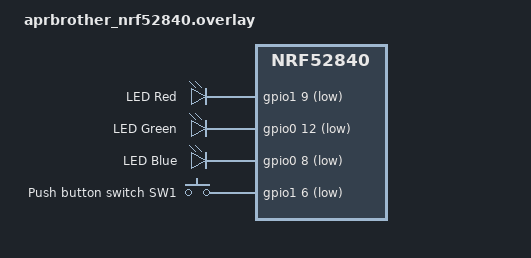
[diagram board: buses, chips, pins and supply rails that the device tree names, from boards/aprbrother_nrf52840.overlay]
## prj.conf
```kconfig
# Joypad bt2usb — nRF52840 Kconfig
#
# BTstack is the BLE host (via raw HCI), TinyUSB is the USB device stack.
# Zephyr provides: kernel, BLE controller (link layer), GPIO, NVS, clock.

# ============================================================================
# BLE Controller (raw HCI passthrough — BTstack is the host)
# ============================================================================
CONFIG_BT=y
CONFIG_BT_HCI_RAW=y
CONFIG_BT_CTLR_ASSERT_HANDLER=y
CONFIG_BT_BUF_ACL_RX_SIZE=255
CONFIG_BT_BUF_ACL_TX_SIZE=251
CONFIG_BT_BUF_CMD_TX_SIZE=255
CONFIG_BT_BUF_EVT_DISCARDABLE_SIZE=255
CONFIG_BT_CTLR_PRIVACY=n

# SoftDevice Controller needs these to compile in scanning + connection support.
# Without them, HCI LE scan/connect commands are rejected by the controller.
CONFIG_BT_OBSERVER=y
CONFIG_BT_CENTRAL=y
CONFIG_BT_MAX_CONN=2

# BTstack sends HCI commands with K_NO_WAIT; default count (2) causes drops.
CONFIG_BT_BUF_CMD_TX_COUNT=10

# ============================================================================
# USB — disabled (TinyUSB drives nRF52840 USBD hardware directly)
# ============================================================================
CONFIG_USB_DEVICE_STACK=n

# ============================================================================
# GPIO, Flash, NVS, Entropy
# ============================================================================
CONFIG_GPIO=y
CONFIG_ENTROPY_GENERATOR=y
CONFIG_HWINFO=y
CONFIG_REBOOT=y
CONFIG_FLASH=y
CONFIG_FLASH_MAP=y
CONFIG_FLASH_PAGE_LAYOUT=y
CONFIG_NVS=y

# ============================================================================
# C library
# ============================================================================
CONFIG_NEWLIB_LIBC=y

# ============================================================================
# Console — UART (RTT requires debug probe; TinyUSB owns USB, not Zephyr)
# ============================================================================
CONFIG_CONSOLE=y
CONFIG_SERIAL=y
CONFIG_UART_CONSOLE=y

# ============================================================================
# Stack / memory
# ============================================================================
# 6 kB: the main loop runs the whole app (CDC command handlers, BT callbacks
# via btstack run loop, USB). 4 kB overflowed on nRF52840 once a CDC handler
# added a couple hundred bytes of locals (ROUTER.GET's flash_t scratch) —
# the big frame buffers in cdc_protocol.c are static now, but keep headroom.
CONFIG_MAIN_STACK_SIZE=6144
CONFIG_SYSTEM_WORKQUEUE_STACK_SIZE=2048
CONFIG_HEAP_MEM_POOL_SIZE=16384
CONFIG_BT_RX_STACK_SIZE=1024
CONFIG_BT_HCI_TX_STACK_SIZE_WITH_PROMPT=y
CONFIG_BT_HCI_TX_STACK_SIZE=640
CONFIG_ISR_STACK_SIZE=2048
CONFIG_IDLE_STACK_SIZE=256

# ============================================================================
# Build output
# ============================================================================
CONFIG_BUILD_OUTPUT_UF2=y
CONFIG_SIZE_OPTIMIZATIONS=y

# ============================================================================
# Disable unused subsystems
# ============================================================================
CONFIG_I2C=y
CONFIG_SPI=n
CONFIG_WATCHDOG=n
CONFIG_PM=n
CONFIG_BOOT_BANNER=n
CONFIG_BOOT_DELAY=0
CONFIG_ARM_MPU=y
CONFIG_MPU_STACK_GUARD=y
CONFIG_DYNAMIC_INTERRUPTS=y
CONFIG_IRQ_OFFLOAD=n

# ============================================================================
# Fault reporting — get register dump + stack trace on hard fault
# ============================================================================
CONFIG_FAULT_DUMP=2

# System OFF deep sleep (platform_deep_sleep -> sys_poweroff)
CONFIG_POWEROFF=y

# SAADC for battery voltage monitoring (platform_battery_millivolts)
CONFIG_ADC=y
CONFIG_ADC_NRFX_SAADC=y
```

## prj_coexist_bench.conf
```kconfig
# Bench marker: BLE/USB coexist (detected by CMakeLists via filename)
```

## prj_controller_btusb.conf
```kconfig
# Joypad controller_btusb — nRF52840 Kconfig overrides
#
# Applied on top of prj.conf when building APP_TYPE=controller_btusb.
# BLE peripheral mode (HOGP gamepad) + sensor input.
# BTstack handles BLE host stack via raw HCI — Zephyr provides the controller.

# Enable peripheral role in the SoftDevice Controller
# (prj.conf already has CONFIG_BT_CENTRAL=y and CONFIG_BT_OBSERVER=y for central;
#  peripheral mode additionally needs CONFIG_BT_PERIPHERAL for advertising support)
CONFIG_BT_PERIPHERAL=y

# Onboard IMU — XIAO nRF52840 Sense LSM6DS3TR-C at 0x6a/0x6b on i2c0. Read via a
# direct I2C register driver (nrf/src/imu_nrf.c); it also drives the P1.08 power
# pin high itself (the regulator-fixed node doesn't reliably hold it).
CONFIG_I2C=y
```

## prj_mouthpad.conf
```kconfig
# MouthPad app extra config (nRF)
#
# Selects APP_TYPE=mouthpad (detected from this filename in CMakeLists.txt).
# Shares the base prj.conf (BLE central + TinyUSB device + NVS settings), which
# already provides everything the BT->USB path needs. The mouthpad app adds the
# NUS<->CDC relay on top of the standard bt2usb BLE-host configuration.
#
# (Intentionally minimal — board-specific settings live in boards/*.conf.)
CONFIG_BT_SETTINGS=y
```

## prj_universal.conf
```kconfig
# Joypad universal — nRF52840 Kconfig overrides
#
# Applied on top of prj.conf when building APP_TYPE=universal.
# BLE peripheral mode (HOGP gamepad) + sensor input.
# BTstack handles BLE host stack via raw HCI — Zephyr provides the controller.

# Enable peripheral role in the SoftDevice Controller
# (prj.conf already has CONFIG_BT_CENTRAL=y and CONFIG_BT_OBSERVER=y for central;
#  peripheral mode additionally needs CONFIG_BT_PERIPHERAL for advertising support)
CONFIG_BT_PERIPHERAL=y

# Onboard IMU — XIAO nRF52840 Sense LSM6DS3TR-C at 0x6a/0x6b on i2c0. Read via a
# direct I2C register driver (nrf/src/imu_nrf.c); it also drives the P1.08 power
# pin high itself (the regulator-fixed node doesn't reliably hold it).
CONFIG_I2C=y



# Zephyr open-source link layer (see boards/makerdiary_nrf52840.overlay).
CONFIG_BT_LL_SW_SPLIT=y

# Maximum radio transmit power (nRF52840 tops out at +8 dBm; Zephyr defaults to 0).
# Measured with a sniffer: this dongle advertised ~25 dB weaker than every other
# device in the room while sitting inches from the receiver, and a console that
# barely hears a controller has no reason to connect to it.
CONFIG_BT_CTLR_TX_PWR_PLUS_8=y

# Link-layer data length. A real Pro Controller 2 negotiates DLE 251, and the
# console negotiates a 247-byte ATT MTU against us -- which over 27-byte PDUs
# (Zephyr's default) means every command it sends has to be fragmented. The
# console exchanges the MTU and then stops talking, so match the pad.
CONFIG_BT_CTLR_DATA_LENGTH_MAX=251
CONFIG_BT_BUF_ACL_RX_SIZE=255
```

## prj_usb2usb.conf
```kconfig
# Joypad usb2usb — nRF52840 Kconfig overrides
#
# Applied on top of prj.conf when building APP_TYPE=usb2usb.
# Enables SPI for MAX3421E FeatherWing, disables Bluetooth.

# SPI driver disabled — MAX3421E uses direct NRF_SPI1 register access (ISR-safe)
CONFIG_SPI=n
CONFIG_BT=n

# uart_host_nrf.c drives the console UART with interrupt-driven RX so
# joypad-mcp frames aren't dropped while the main loop is busy elsewhere.
CONFIG_UART_INTERRUPT_DRIVEN=y
```

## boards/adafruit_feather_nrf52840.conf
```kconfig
# Adafruit Feather nRF52840 Express board-specific config
#
# The Feather ships with the Adafruit UF2 bootloader (SoftDevice s140 v6 layout).
# Zephyr's default DTS uses MCUboot partitions — the overlay replaces them with
# the correct UF2 layout (code at 0x26000).
CONFIG_USE_DT_CODE_PARTITION=y
CONFIG_BOOTLOADER_MCUBOOT=n
```

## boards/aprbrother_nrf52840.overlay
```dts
/* Joypad — April Brother nRF52840 USB Dongle devicetree overlay
 *
 * Hardware: PCA10059-class nRF52840 USB dongle (April Brother BleUsbDongle)
 * shipping the Adafruit nRF52 UF2 bootloader (NRF52BOOT drive, no SoftDevice
 * binary — code runs from 0x1000). This is the board sent to MouthPad users.
 *
 * Built as base Zephyr board `nrf52840dongle_nrf52840` + this overlay
 * (see nrf/Makefile ZEPHYR_BOARD mapping for BOARD=aprbrother_nrf52840).
 *
 * TinyUSB drives USB hardware directly, so disable Zephyr's USBD node.
 * Console -> uart0 (RTT is the actual debug output on a pinless dongle).
 *
 * LED pin overrides: the April Brother RGB LED is wired differently from the
 * Nordic PCA10059 reference. Mapping verified by the mouthpad-usb reference
 * firmware (physical Red=P1.09, Green=P0.12, Blue=P0.08).
 */

&usbd {
	status = "disabled";
};

/ {
	chosen {
		zephyr,console = &uart0;
		zephyr,shell-uart = &uart0;
	};
};

/* April Brother RGB LED physical wiring (override base board GPIO pins) */
&led0_green {
	gpios = <&gpio1 9 GPIO_ACTIVE_LOW>;   /* physical Red   (P1.09) */
	label = "LED Red";
};

&led1_red {
	gpios = <&gpio0 12 GPIO_ACTIVE_LOW>;  /* physical Green (P0.12) */
	label = "LED Green";
};

&led1_green {
	gpios = <&gpio0 8 GPIO_ACTIVE_LOW>;   /* physical Blue  (P0.08) */
	label = "LED Blue";
};

&led1_blue {
	status = "disabled";
};

/* User button (April Brother SW1 on P1.06) */
&button0 {
	gpios = <&gpio1 6 (GPIO_PULL_UP | GPIO_ACTIVE_LOW)>;
	label = "Push button switch SW1";
};

/* UF2 / Adafruit-bootloader flash layout (no SoftDevice; code at 0x1000) */
/delete-node/ &boot_partition;
/delete-node/ &slot0_partition;
/delete-node/ &slot1_partition;
/delete-node/ &storage_partition;

&flash0 {
	partitions {
		compatible = "fixed-partitions";
		#address-cells = <1>;
		#size-cells = <1>;

		/* Adafruit UF2 bootloader resides at 0x0-0x1000 */
		boot_partition: partition@0 {
			label = "adafruit_boot";
			reg = <0x00000000 0x00001000>;
		};

		/* Application code starts immediately after bootloader */
		code_partition: partition@1000 {
			label = "code_partition";
			reg = <0x00001000 0x000ed000>;
		};

		/* Settings/bonds storage (64 kB, before the MBR params page at 0xfe000) */
		storage_partition: partition@ee000 {
			label = "storage";
			reg = <0x000ee000 0x00010000>;
		};
	};
};

/ {
	chosen {
		zephyr,code-partition = &code_partition;
		zephyr,settings-partition = &storage_partition;
	};
};
```

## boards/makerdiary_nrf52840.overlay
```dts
/* Joypad — Makerdiary nRF52840 MDK USB Dongle devicetree overlay
 *
 * Built as the upstream Zephyr board `nrf52840_mdk_usb_dongle` + this overlay
 * (see nrf/Makefile ZEPHYR_BOARD mapping for BOARD=makerdiary_nrf52840).
 *
 * Bootloader: UF2 at MBR 0x0-0x1000, no SoftDevice, app at 0x1000 — either the
 * stock Makerdiary "uf2boot" (drive UF2BOOT, app region 0x1000-0xF4000,
 * family 0xADA52840) or the Adafruit nRF52 no-SD build Augmental ships on this
 * dongle (drive MDK-DONGLE; see mouthpad-usb reference firmware). The layout
 * below keeps storage below 0xF4000 so it is safe under BOTH bootloaders.
 *
 * TinyUSB drives USB hardware directly, so disable Zephyr's USBD node.
 * Console -> uart0 (TX=P0.06, RX=P0.07 edge pads).
 *
 * RGB LED comes from the base board dts and is already correct for this
 * hardware: Red=P0.23, Green=P0.22, Blue=P0.24, all active LOW.
 */

&usbd {
	status = "disabled";
};

/ {
	chosen {
		zephyr,console = &uart0;
		zephyr,shell-uart = &uart0;
	};
};

/* Onboard USER button = P0.18. The base board programs UICR PSELRESET
 * (gpio-as-nreset) which would turn it into a reset pin; drop that so it
 * stays a plain GPIO button (the mouthpad-usb reference firmware ships this
 * way in production — bootloader entry is hold-button-while-plugging). */
&uicr {
	/delete-property/ gpio-as-nreset;
};

/* i2c1 on exposed edge pads for an optional SSD1306 OLED. The shared display
 * service compiles DT_NODELABEL(i2c1) on every non-Feather board, so the node
 * must exist and be enabled. Internal pull-ups let the boot-time probe NAK
 * cleanly (instead of wedging on floating lines) when nothing is attached. */
&pinctrl {
	i2c1_oled_default: i2c1_oled_default {
		group1 {
			psels = <NRF_PSEL(TWIM_SDA, 0, 4)>,
				<NRF_PSEL(TWIM_SCL, 0, 5)>;
			bias-pull-up;
		};
	};

	i2c1_oled_sleep: i2c1_oled_sleep {
		group1 {
			psels = <NRF_PSEL(TWIM_SDA, 0, 4)>,
				<NRF_PSEL(TWIM_SCL, 0, 5)>;
			low-power-enable;
		};
	};
};

&i2c1 {
	compatible = "nordic,nrf-twim";
	status = "okay";
	pinctrl-0 = <&i2c1_oled_default>;
	pinctrl-1 = <&i2c1_oled_sleep>;
	pinctrl-names = "default", "sleep";
	clock-frequency = <400000>;
};

/* Pairing brownout fix: this dongle is USB-5V powered in high-voltage mode
 * (VDDH -> internal REG0 -> VDD). The base board dts enables DCDC only on
 * REG1, leaving REG0 — the stage carrying the whole 5V->3.3V load — in LDO
 * mode. Under the sustained radio bursts of a BLE *connection* (advertising
 * survives; every connection attempt POR-reset the board: RESETREAS=0,
 * noinit RAM wiped) the REG0 LDO collapses VDD. The MDK dongle has both
 * DCDC inductors and Makerdiary's own SDK enables both converters — enable
 * REG0 DCDC here too. */
&reg0 {
	status = "okay";
};

/* SAADC — platform_gpio_nrf.c compiles DT_NODELABEL(adc) whenever CONFIG_ADC
 * is on (prj.conf), and the base board dts leaves the node disabled. AIN0-AIN3
 * (P0.02-P0.05) are exposed edge pads, usable for analog sticks. */
&adc {
	status = "okay";
};

/* UF2 / no-SoftDevice flash layout (code at 0x1000). Base board dts uses
 * MCUboot partitions (fstab-stock.dtsi) — replace them. */
/delete-node/ &boot_partition;
/delete-node/ &slot0_partition;
/delete-node/ &slot1_partition;
/delete-node/ &storage_partition;
/delete-node/ &scratch_partition;

&flash0 {
	partitions {
		compatible = "fixed-partitions";
		#address-cells = <1>;
		#size-cells = <1>;

		/* MBR / UF2 bootloader entry at 0x0-0x1000 */
		boot_partition: partition@0 {
			label = "uf2_boot";
			reg = <0x00000000 0x00001000>;
		};

		/* Application code starts immediately after the MBR */
		code_partition: partition@1000 {
			label = "code_partition";
			reg = <0x00001000 0x000e3000>;
		};

		/* Settings/bonds storage (64 kB). Ends at 0xF4000: the stock
		 * Makerdiary uf2boot's app region ends there (bootloader lives
		 * at the top of flash), and the Adafruit-style no-SD build also
		 * keeps 0xF4000+ for itself. */
		storage_partition: partition@e4000 {
			label = "storage";
			reg = <0x000e4000 0x00010000>;
		};
	};
};

/ {
	chosen {
		zephyr,code-partition = &code_partition;
		zephyr,settings-partition = &storage_partition;
	};
};

/* Zephyr open-source link layer instead of Nordic's SoftDevice Controller.
 * The closed controller refuses the Switch 2's 5 ms connection interval (below
 * the 7.5 ms spec minimum); the open one is patchable. Selecting it needs the
 * devicetree chosen node, not just CONFIG_BT_LL_SW_SPLIT.
 * UNTESTED ON HARDWARE — see .dev/docs/switch2-ble-output-plan.md. */
&bt_hci_sdc { status = "disabled"; };
&bt_hci_controller { status = "okay"; };
/ { chosen { zephyr,bt-hci = &bt_hci_controller; }; };
```

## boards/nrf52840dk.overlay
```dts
/* Joypad usb2usb — nRF52840-DK devicetree overlay
 *
 * The DK's default DTS (via nrf52840_partition.dtsi) lays out flash for an
 * MCUboot child image: boot_partition at 0x0, then slot0/slot1 app slots.
 * The DK has no bootloader here — it flashes straight over the onboard
 * J-Link — so replace that with a single code_partition at 0x0 spanning the
 * whole flash, keeping the same NVS storage_partition tail used by
 * flash_nrf.c / btstack_tlv_nrf.c.
 *
 * Console is already zephyr,console = &uart0 in the stock DK devicetree,
 * routed to the J-Link's onboard VCOM — no console overlay needed.
 *
 * display_i2c_nrf.c (shared across all boards, built regardless of app type)
 * references &i2c1 by devicetree label. The DK's stock dts defines i2c1's
 * pinctrl but leaves it disabled (commented `status = "okay"`) because it
 * conflicts with spi1 — enable it here so the node ordinal resolves; no
 * display is attached for usb2usb.
 */

&i2c1 {
	status = "okay";
};

/delete-node/ &boot_partition;
/delete-node/ &slot0_partition;
/delete-node/ &slot1_partition;
/delete-node/ &storage_partition;

&flash0 {
	partitions {
		compatible = "fixed-partitions";
		#address-cells = <1>;
		#size-cells = <1>;

		code_partition: partition@0 {
			label = "code_partition";
			reg = <0x00000000 0x000f8000>;
		};

		storage_partition: partition@f8000 {
			label = "storage";
			reg = <0x000f8000 0x00008000>;
		};
	};
};

/ {
	chosen {
		zephyr,code-partition = &code_partition;
	};
};
```

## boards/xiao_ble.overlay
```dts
/* Joypad bt2usb — Seeed XIAO nRF52840 devicetree overlay
 *
 * TinyUSB drives USB hardware directly, so disable Zephyr's USBD node.
 * Console redirected to UART0 (RTT is the actual debug output).
 */

&usbd {
	status = "disabled";
};

/* The nRF52840 P1 GPIO port (gpio1) is status="disabled" in the base SoC
 * devicetree. The XIAO breaks out D6-D10 = P1.11-P1.15 (pad pins 43-47), so
 * leaving gpio1 off makes every P1.x pad dead — device_is_ready(gpio1) fails,
 * pad input skips configuring them, and reads return garbage. Enable it so the
 * P1 pads are usable for buttons/D-pad. (gpio0/P0 is already enabled.) */
&gpio1 {
	status = "okay";
};

/ {
	chosen {
		zephyr,console = &uart0;
		zephyr,shell-uart = &uart0;
	};
};

/*
 * XIAO nRF52840 Sense onboard IMU: LSM6DS3TR-C at 0x6a on i2c0, wired to the
 * internal pins P0.07 (SDA) / P0.27 (SCL) — NOT the D4/D5 header (that was for
 * the Feather-only JoyWing, unused on XIAO). Powered by a fixed regulator on
 * P1.08 (boot-on, 3ms settle) which Zephyr enables before the sensor inits.
 * IRQ on P0.11. On a plain (non-Sense) XIAO there's no device at 0x6a and the
 * driver just fails to init, harmlessly.
 */
/ {
	lsm6ds3tr_c_en: lsm6ds3tr-c-en {
		compatible = "regulator-fixed";
		enable-gpios = <&gpio1 8 GPIO_ACTIVE_HIGH>;
		regulator-name = "LSM6DS3TR_C_EN";
		regulator-boot-on;
		startup-delay-us = <3000>;
	};
};

&pinctrl {
	i2c0_imu_default: i2c0_imu_default {
		group1 {
			psels = <NRF_PSEL(TWIM_SDA, 0, 7)>,
				<NRF_PSEL(TWIM_SCL, 0, 27)>;
			bias-pull-up;
		};
	};

	i2c0_imu_sleep: i2c0_imu_sleep {
		group1 {
			psels = <NRF_PSEL(TWIM_SDA, 0, 7)>,
				<NRF_PSEL(TWIM_SCL, 0, 27)>;
			low-power-enable;
		};
	};
};

&i2c0 {
	compatible = "nordic,nrf-twim";
	status = "okay";
	pinctrl-0 = <&i2c0_imu_default>;
	pinctrl-1 = <&i2c0_imu_sleep>;
	pinctrl-names = "default", "sleep";
	clock-frequency = <400000>;

	lsm6ds3tr_c: lsm6ds3tr-c@6a {
		compatible = "st,lsm6dsl";
		reg = <0x6a>;
		irq-gpios = <&gpio0 11 GPIO_ACTIVE_HIGH>;
		status = "okay";
	};
};
```

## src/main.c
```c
// main.c - nRF52840 entry point
//
// Zephyr entry point for bt2usb/usb2usb apps on nRF52840 boards.
// bt2usb: BTstack runs in its own Zephyr thread (created by bt_transport_nrf.c).
// usb2usb: USB host via MAX3421E SPI, no Bluetooth.
// Main thread handles USB device, app logic, LED, and storage.

#include <stdio.h>
#include <string.h>

#include <zephyr/kernel.h>
#include <zephyr/irq.h>
#include <zephyr/sys/onoff.h>
#include <zephyr/fatal.h>
#include <zephyr/drivers/clock_control/nrf_clock_control.h>
#include <nrfx.h>

#include "tusb.h"
#include "platform/platform.h"
#include "core/app_registry.h"
#include "core/input_interface.h"
#include "core/output_interface.h"
#include "pad/pad_input.h"
#include "core/services/players/manager.h"
#include "core/services/leds/leds.h"
#include "core/services/storage/storage.h"
#ifdef CONFIG_UNIVERSAL
#include "imu_nrf.h"
#include "bt/ble_output/ble_output.h"
#endif

// App layer
extern void app_init(void);
extern void app_task(void);
extern const OutputInterface** app_get_output_interfaces(uint8_t* count);
extern const InputInterface** app_get_input_interfaces(uint8_t* count);

static const OutputInterface** outputs = NULL;
static uint8_t output_count = 0;
static const InputInterface** inputs = NULL;
static uint8_t input_count = 0;
const OutputInterface* active_output = NULL;
const OutputInterface* native_output = NULL;
const InputInterface* native_input = NULL;

// ============================================================================
// FAULT HANDLER — Zephyr's fault dump goes to UART console automatically.
// We turn on an LED as visual indicator and halt. On boards with no UART
// wired (USB dongles) the console dump is unreachable, so we also stash the
// fault PC/LR in __noinit RAM — it survives the next replug's soft boot and
// main() prints it, so the crash site is readable over CDC after the fact.
// ============================================================================
#define FAULT_CRUMB_MAGIC 0xFA17C4B5u
__noinit static uint32_t fault_crumb_magic;
__noinit static uint32_t fault_crumb_reason;
__noinit static uint32_t fault_crumb_pc;
__noinit static uint32_t fault_crumb_lr;

// RAM copy for this boot: the noinit magic is consumed (cleared) at boot so
// safe boot applies only to the single boot right after a fault, but the
// crumb keeps re-printing all uptime — printf only reaches CDC once the log
// redirect is installed and a client connects.
static bool     crumb_present = false;
static uint32_t crumb_reason, crumb_pc, crumb_lr;

// Returns true if the previous boot faulted (call once, at boot).
static bool fault_crumb_consume(void)
{
    if (fault_crumb_magic == FAULT_CRUMB_MAGIC) {
        crumb_present = true;
        crumb_reason = fault_crumb_reason;
        crumb_pc = fault_crumb_pc;
        crumb_lr = fault_crumb_lr;
    }
    fault_crumb_magic = 0;
    return crumb_present;
}

// BT stage trace: a tiny noinit event ring written from the BLE peripheral
// path (ble_output.c calls bt_diag_mark). Survives even a hardware LOCKUP
// reset that bypasses every software handler, so after a silent reset the
// boot log shows how far pairing got. Codes are defined at the call sites.
#define BT_TRACE_MAGIC 0xB7D1A600u
#define BT_TRACE_N 64
__noinit static uint32_t bt_trace_magic;
__noinit static uint32_t bt_trace_ring[BT_TRACE_N];
__noinit static uint32_t bt_trace_idx;

/* Link-layer CPR interval minimum, in 1.25 ms units, read by the patched
 * controller (ull_internal.h / ull_conn.c / ull_peripheral.c).
 *
 * 6 = the 7.5 ms Bluetooth floor, which is what every mode should run. Switch 2
 * output lowers it to 4 (5 ms) because the console drives the link that fast;
 * see switch2_ble_late_init. It MUST stay at the floor otherwise: lowering it
 * for the whole binary also loosened the central path, and the link layer then
 * asserted (reason 0xB7, which force-resets the dongle) while connecting to an
 * ordinary BLE controller. Switch 2 output and the BLE central are never active
 * together, so the two needs do not collide.
 */
unsigned char joypad_le_interval_min = 6;

void bt_diag_mark(uint32_t code)
{
    if (bt_trace_magic != BT_TRACE_MAGIC) {
        for (int i = 0; i < BT_TRACE_N; i++) bt_trace_ring[i] = 0;
        bt_trace_idx = 0;
        bt_trace_magic = BT_TRACE_MAGIC;
    }
    bt_trace_ring[bt_trace_idx % BT_TRACE_N] = code;
    bt_trace_idx++;
    // Live view for app-level milestones (0xC...) and low-rate LE meta events
    // (0xE03E: connection complete, param/PHY updates). Per-packet marks
    // (other HCI events, ACL 0xACC0) stay ring-only — printf in the
    // cooperative BTstack thread is a polled-UART stall.
    // Subevent 0x02 is LE Advertising Report — one per advertisement seen, so it
    // is emphatically NOT low-rate while scanning. Printing it floods the CDC log
    // (burying every useful host/HID line) and, per the note above, stalls the
    // cooperative BTstack thread on a polled UART for each report — during exactly
    // the window where connection setup is timing-sensitive. Ring-only.
    if ((code >> 28) == 0xC ||
        ((code >> 16) == 0xE03E && (code & 0xFFFF) != 0x0002)) {
        printf("[btdiag] mark %08x\n", (unsigned)code);
    }
}

// Snapshot of the ring from before this boot's reset, for periodic reprint
// (CDC log clients usually connect well after boot).
static uint32_t bt_trace_snap[BT_TRACE_N];
static uint32_t bt_trace_snap_n = 0, bt_trace_snap_total = 0;

static void bt_trace_consume(void)
{
    if (bt_trace_magic != BT_TRACE_MAGIC || bt_trace_idx == 0) return;
    uint32_t n = bt_trace_idx < BT_TRACE_N ? bt_trace_idx : BT_TRACE_N;
    uint32_t start = bt_trace_idx - n;
    for (uint32_t i = 0; i < n; i++) {
        bt_trace_snap[i] = bt_trace_ring[(start + i) % BT_TRACE_N];
    }
    bt_trace_snap_n = n;
    bt_trace_snap_total = bt_trace_idx;
    // Reset the ring for this boot's marks
    bt_trace_idx = 0;
    for (int i = 0; i < BT_TRACE_N; i++) bt_trace_ring[i] = 0;
}

// On-demand dump of the LIVE ring (this boot's marks) — BT.TRACE command.
void bt_diag_dump(void)
{
    if (bt_trace_magic != BT_TRACE_MAGIC || bt_trace_idx == 0) {
        printf("[btdiag] live trace: empty\n");
        return;
    }
    uint32_t n = bt_trace_idx < BT_TRACE_N ? bt_trace_idx : BT_TRACE_N;
    uint32_t start = bt_trace_idx - n;
    printf("[btdiag] live trace (%u marks, oldest first):",
           (unsigned)bt_trace_idx);
    for (uint32_t i = 0; i < n; i++) {
        printf(" %08x", (unsigned)bt_trace_ring[(start + i) % BT_TRACE_N]);
    }
    printf("\n");
}

static void bt_trace_report(void)
{
    if (bt_trace_snap_n == 0) return;
    printf("[btdiag] trace before reset (%u marks, oldest first):",
           (unsigned)bt_trace_snap_total);
    for (uint32_t i = 0; i < bt_trace_snap_n; i++) {
        printf(" %08x", (unsigned)bt_trace_snap[i]);
    }
    printf("\n");
}

static void fault_crumb_report(void)
{
    if (crumb_present) {
        printf("[fault] PREVIOUS BOOT FAULTED: reason=%u pc=0x%08x lr=0x%08x\n",
               (unsigned)crumb_reason, (unsigned)crumb_pc, (unsigned)crumb_lr);
    }
}

// Newlib assert() → abort() → k_panic loses the assert location (its message
// goes to the unwired UART). Capture file+line in the crumb and reboot:
// reason=0xA5, pc=line, lr=first 4 chars of the file's basename.
void __assert_func(const char *file, int line, const char *func,
                   const char *expr)
{
    (void)func; (void)expr;
    fault_crumb_magic = FAULT_CRUMB_MAGIC;
    fault_crumb_reason = 0xA5;
    fault_crumb_pc = (uint32_t)line;
    fault_crumb_lr = 0;
    if (file) {
        const char *base = file;
        for (const char *p = file; *p; p++) {
            if (*p == '/') base = p + 1;
        }
        for (int i = 0; i < 4 && base[i]; i++) {
            fault_crumb_lr |= ((uint32_t)(uint8_t)base[i]) << (8 * i);
        }
    }
    NVIC_SystemReset();
    for (;;) { }
}

void k_sys_fatal_error_handler(unsigned int reason, const struct arch_esf *esf)
{
    fault_crumb_magic = FAULT_CRUMB_MAGIC;
    fault_crumb_reason = reason;
    fault_crumb_pc = esf ? esf->basic.pc : 0;
    fault_crumb_lr = esf ? esf->basic.lr : 0;
#ifdef BOARD_FEATHER_NRF52840
    // Blue LED on Feather = P1.10, active high
    NRF_P1->DIRSET = (1U << 10);
    NRF_P1->OUTSET = (1U << 10);  // LED on (active high)
#elif defined(BOARD_MAKERDIARY_NRF52840)
    // Blue LED on MDK dongle = P0.24, active low
    NRF_P0->DIRSET = (1U << 24);
    NRF_P0->OUTCLR = (1U << 24);  // LED on (active low)
#else
    // Blue LED on XIAO BLE = P0.06, active low
    NRF_P0->DIRSET = (1U << 6);
    NRF_P0->OUTCLR = (1U << 6);   // LED on (active low)
#endif
    // Hold the LED visibly, then reboot so the crumb gets printed (halting
    // forever just strands the dongle until a replug).
    for (volatile uint32_t i = 0; i < 16000000; i++) { __NOP(); }
    NVIC_SystemReset();
    for (;;) { __WFI(); }
}

// ============================================================================
// BT CONTROLLER ASSERT HANDLER
// ============================================================================

void bt_ctlr_assert_handle(char *file, uint32_t line)
{
    // SDC asserts can fire from radio ISR context; printf-and-return leaves
    // the controller in an undefined state (observed as a hard lockup, USB
    // gone). Record it in the fault crumb (reason 0xB7 tag; pc=line, lr=first
    // 4 chars of the file name) and reboot — next boot is a safe boot that
    // reports it over CDC.
    fault_crumb_magic = FAULT_CRUMB_MAGIC;
    fault_crumb_reason = 0xB7;
    fault_crumb_pc = line;
    fault_crumb_lr = 0;
    if (file) {
        for (int i = 0; i < 4 && file[i]; i++) {
            fault_crumb_lr |= ((uint32_t)(uint8_t)file[i]) << (8 * i);
        }
    }
    NVIC_SystemReset();
}

// ============================================================================
// USB POWER + IRQ SETUP
// ============================================================================

// TinyUSB's dcd_nrf5x.c requires tusb_hal_nrf_power_event() to be called
// with VBUS power events to start the USB peripheral.

extern void dcd_int_handler(uint8_t rhport);
extern void tusb_hal_nrf_power_event(uint32_t event);

// USBD interrupt handler
static void usbd_isr(const void *arg)
{
    (void)arg;
    dcd_int_handler(0);
}

// HFCLK must stay running for USB to work. MPSL (BLE radio stack) manages
// HFCLK and will stop it when the radio is idle, breaking USB. We request
// HFCLK through Zephyr's onoff manager so MPSL keeps it running.
static struct onoff_client hfclk_cli;

static void usb_hfclk_request(void)
{
    struct onoff_manager *mgr =
        z_nrf_clock_control_get_onoff(CLOCK_CONTROL_NRF_SUBSYS_HF);
    sys_notify_init_spinwait(&hfclk_cli.notify);
    int err = onoff_request(mgr, &hfclk_cli);
    if (err < 0) {
        printf("[usb] HFCLK request failed: %d\n", err);
        return;
    }
    // Wait for HFCLK to stabilize
    int res;
    while (sys_notify_fetch_result(&hfclk_cli.notify, &res) == -EAGAIN) {
        k_yield();
    }
    printf("[usb] HFCLK running\n");
}

// Call after tusb_init() to trigger USB enumeration.
// Uses dynamic interrupt registration and unconditionally fires power
// events (bt2usb is always USB-powered, so VBUS is always present).
static void usb_power_init(void)
{
    // Request HFCLK through Zephyr's clock manager (keeps MPSL aware)
    usb_hfclk_request();

    // Register USBD ISR dynamically (runtime, not via static ISR table)
    irq_connect_dynamic(USBD_IRQn, 2, usbd_isr, NULL, 0);

    // Reset USBD to clean state (bootloader may have left it active)
    if (NRF_USBD->ENABLE) {
        NRF_USBD->USBPULLUP = 0;
        __ISB(); __DSB();
        NVIC_DisableIRQ(USBD_IRQn);
        NRF_USBD->INTENCLR = NRF_USBD->INTEN;
        NRF_USBD->ENABLE = 0;
        __ISB(); __DSB();
    }

    // Log USBREGSTATUS for debugging
    uint32_t usb_reg = NRF_POWER->USBREGSTATUS;
    printf("[usb] USBREGSTATUS=0x%08x VBUS=%d OUTRDY=%d\n",
           (unsigned)usb_reg,
           !!(usb_reg & POWER_USBREGSTATUS_VBUSDETECT_Msk),
           !!(usb_reg & POWER_USBREGSTATUS_OUTPUTRDY_Msk));

    // Always fire both events — bt2usb is USB-powered so VBUS is present.
    // Don't gate on USBREGSTATUS since some boards may not report it.
    printf("[usb] Firing DETECTED event\n");
    tusb_hal_nrf_power_event(0);  // USB_EVT_DETECTED

    printf("[usb] Firing READY event\n");
    tusb_hal_nrf_power_event(2);  // USB_EVT_READY

    // Belt and suspenders: ensure USBD IRQ is enabled
    irq_enable(USBD_IRQn);

    printf("[usb] USBD init complete, pullup=%d\n",
           !!(NRF_USBD->USBPULLUP));
}

#if defined(CONFIG_UNIVERSAL) && defined(CONFIG_BOARD_XIAO_BLE)
// ============================================================================
// BATTERY PROTECTION + IDLE DEEP-SLEEP
// ============================================================================
// On battery the firmware otherwise runs full-tilt forever (IMU 100 Hz + BLE +
// ~1 kHz loop = several mA) with no low-voltage cutoff. That flattened a LiPo to
// 1.7 V and destroyed it. Guard against it: drop to System OFF when the cell hits
// a safe floor (prevents the over-discharge that ruins the battery) or after
// being idle+disconnected (saves power). Wakes on the XIAO D1 button.
#define PWR_WAKE_GPIO        3       // P0.03 = XIAO D1 / user button
#define PWR_WAKE_ACTIVE_HIGH false   // active-low (pull-up)
#define PWR_LOW_BATT_MV      3300u   // safe LiPo floor — huge margin over ~2.5 V danger
#define PWR_IDLE_TIMEOUT_MS  (10u * 60u * 1000u)  // disconnected+idle this long → sleep
#define PWR_CHECK_MS         3000u

static void power_task(void)
{
    static uint32_t last_check = 0;
    static uint8_t  low_count = 0;
    uint32_t now = platform_time_ms();

    // On USB: charging and must stay enumerated — never sleep.
    if (platform_usb_powered()) {
        low_count = 0;
        return;
    }

    if ((uint32_t)(now - last_check) < PWR_CHECK_MS) return;
    last_check = now;

    // Critical: low-voltage cutoff. Debounced so a transient TX load sag doesn't
    // trip it. Fires regardless of connection state — over-discharge is forever.
    int mv = platform_battery_millivolts();
    if (mv > 0 && (uint32_t)mv < PWR_LOW_BATT_MV) {
        if (++low_count >= 3) {
            printf("[power] battery %d mV < %u — System OFF to protect the cell\n",
                   mv, PWR_LOW_BATT_MV);
            platform_deep_sleep(PWR_WAKE_GPIO, PWR_WAKE_ACTIVE_HIGH);
        }
        return;
    }
    low_count = 0;

    // Power saving: no real user input for a while → sleep, EVEN WHILE CONNECTED.
    // A controller left paired-but-idle to a host must not sit at full connected
    // draw and bleed the cell down. Activity = buttons / physical sticks / the
    // pad being moved (see pad_input); a static tilt or noise does not count.
    uint32_t last_active = pad_input_last_activity_ms();
    if ((uint32_t)(now - last_active) > PWR_IDLE_TIMEOUT_MS) {
        printf("[power] idle %us on battery — System OFF\n",
               (unsigned)((now - last_active) / 1000u));
        platform_deep_sleep(PWR_WAKE_GPIO, PWR_WAKE_ACTIVE_HIGH);
    }
}
#endif  // CONFIG_UNIVERSAL && CONFIG_BOARD_XIAO_BLE

// ============================================================================
// MAIN
// ============================================================================

int main(void)
{
#if defined(CONFIG_UNIVERSAL)
    printf("[joypad] Starting universal on Adafruit Feather nRF52840...\n");
#elif defined(CONFIG_BTUSB2USB)
    printf("[joypad] Starting btusb2usb on Adafruit Feather nRF52840...\n");
#elif defined(CONFIG_USB2USB)
    printf("[joypad] Starting usb2usb on Adafruit Feather nRF52840...\n");
#elif defined(BOARD_FEATHER_NRF52840)
    printf("[joypad] Starting bt2usb on Adafruit Feather nRF52840...\n");
#elif defined(BOARD_MAKERDIARY_NRF52840)
    printf("[joypad] Starting bt2usb on Makerdiary nRF52840 MDK USB Dongle...\n");
#else
    printf("[joypad] Starting bt2usb on Seeed XIAO nRF52840...\n");
#endif

    // Safe boot: the previous boot hard-faulted. If the fault is in early
    // init (storage/NVS, BT bring-up) a normal boot crash-loops before USB
    // ever enumerates and the crumb is unreadable. Skip storage/BT init on
    // the single boot after a fault so USB comes up and the crumb reaches
    // the CDC log; the boot after that is normal again.
    bool safe_boot = fault_crumb_consume();
    fault_crumb_report();
    bt_trace_consume();
    bt_trace_report();
    if (safe_boot) {
        printf("[joypad] SAFE BOOT after fault — skipping storage/BT init\n");
    }

    // Initialize shared services
    leds_init();
    if (!safe_boot) storage_init();
    players_init();
    app_init();

#ifdef CONFIG_MAX3421
    // Initialize MAX3421E SPI host (must be before tusb_init/input init)
    {
        extern bool max3421_host_init(void);
        if (!max3421_host_init()) {
            printf("[joypad] MAX3421E not detected - USB host disabled\n");
        }
    }
#endif

    // Get and initialize input interfaces (skipped in safe boot: BT init
    // reads the same NVS the crash may involve)
    inputs = app_get_input_interfaces(&input_count);
    for (uint8_t i = 0; i < input_count && !safe_boot; i++) {
        if (inputs[i] && inputs[i]->init) {
            printf("[joypad] Initializing input: %s\n", inputs[i]->name);
            inputs[i]->init();
        }
    }

    // Get and initialize output interfaces
    outputs = app_get_output_interfaces(&output_count);
    if (output_count > 0 && outputs[0]) {
        active_output = outputs[0];
    }
    for (uint8_t i = 0; i < output_count; i++) {
        if (outputs[i] && outputs[i]->init) {
            printf("[joypad] Initializing output: %s\n", outputs[i]->name);
            outputs[i]->init();
        }
    }

    printf("[joypad] tusb_inited=%d\n", tud_inited());

    // Publish active interfaces so shared code (CDC, router) can introspect.
    app_registry_set(inputs, input_count, outputs, output_count);

    // Trigger USB enumeration (handles VBUS already present at boot)
    usb_power_init();

#ifdef CONFIG_MAX3421
    // Enable MAX3421E interrupt now that TinyUSB host is initialized
    {
        extern void max3421_host_enable_int(void);
        max3421_host_enable_int();
    }
#endif

#ifdef CONFIG_UNIVERSAL
    // Onboard IMU (XIAO Sense LSM6DS3TR-C) — after USB is up, so a wedged I2C
    // bus can never block enumeration. No-op if the board has no IMU.
    imu_init();
#endif

    printf("[joypad] Entering main loop\n");

#ifdef CONFIG_MAX3421
    uint32_t diag_time = 0;
#endif

    // Main loop
    while (1) {
        // Poll TinyUSB device (non-blocking)
        tud_task_ext(0, false);

#ifdef CONFIG_MAX3421
        // Process TinyUSB host events (MAX3421E ISR handles SPI directly)
        tuh_task_ext(0, false);

        // Periodic diagnostic (every 5s for first 60s)
        {
            extern void max3421_print_diag(void);
            uint32_t now = platform_time_ms();
            if (diag_time == 0 || (now - diag_time >= 5000 && now < 60000)) {
                max3421_print_diag();
                diag_time = now;
            }
        }
#endif

        leds_task();
        players_task();
        storage_task();

        // Poll input interfaces
        for (uint8_t i = 0; i < input_count; i++) {
            if (inputs[i] && inputs[i]->task) {
                inputs[i]->task();
            }
        }

        // Run output interface tasks
        for (uint8_t i = 0; i < output_count; i++) {
            if (outputs[i] && outputs[i]->task) {
                outputs[i]->task();
            }
        }

        app_task();

#ifdef CONFIG_UNIVERSAL
        imu_task();  // sample onboard IMU → router (throttled to ~100 Hz)
#endif

#if defined(CONFIG_UNIVERSAL) && defined(CONFIG_BOARD_XIAO_BLE)
        power_task();  // low-battery cutoff + idle deep-sleep (protects the cell)
#endif

        // Diagnostic: re-announce a stashed fault crumb every 5s so it reaches
        // a CDC log client no matter when it connects.
        {
            static uint32_t crumb_last_ms = 0;
            uint32_t crumb_now = platform_time_ms();
            if ((uint32_t)(crumb_now - crumb_last_ms) >= 5000u) {
                crumb_last_ms = crumb_now;
                fault_crumb_report();
                bt_trace_report();
            }
        }

        // Yield to other Zephyr threads (BTstack runs in its own thread)
        k_msleep(1);
    }

    return 0;
}
```

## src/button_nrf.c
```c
// button_nrf.c - Button driver for nRF52840 boards
//
// Implements button.h using Zephyr GPIO. Active low with internal pull-up.
//
// XIAO nRF52840:    D1 = P0.03 on gpio0
// Feather nRF52840: User switch = P1.02 on gpio1
// Makerdiary MDK:   USER button = P0.18 on gpio0 (overlay drops gpio-as-nreset)

#include "core/services/button/button.h"
#include "platform/platform.h"
#include <zephyr/drivers/gpio.h>
#include <stdio.h>

#ifdef BOARD_FEATHER_NRF52840
#define BUTTON_PORT_LABEL DT_NODELABEL(gpio1)
#define BUTTON_PIN 2   // P1.02 (User switch)
#define BUTTON_PIN_STR "P1.02"
#elif defined(BOARD_MAKERDIARY_NRF52840)
#define BUTTON_PORT_LABEL DT_NODELABEL(gpio0)
#define BUTTON_PIN 18  // P0.18 (onboard USER button)
#define BUTTON_PIN_STR "P0.18"
#else
#define BUTTON_PORT_LABEL DT_NODELABEL(gpio0)
#define BUTTON_PIN 3   // P0.03 (D1)
#define BUTTON_PIN_STR "P0.03"
#endif

static const struct device *button_port;

// ============================================================================
// STATE
// ============================================================================

typedef enum {
    STATE_IDLE,
    STATE_PRESSED,
    STATE_WAIT_DOUBLE,
    STATE_WAIT_TRIPLE,
    STATE_HELD,
} button_state_t;

static button_state_t state = STATE_IDLE;
static uint32_t press_time_ms = 0;
static uint32_t release_time_ms = 0;
static bool last_raw_state = false;
static uint32_t last_change_ms = 0;
static button_callback_t event_callback = NULL;
static bool hold_event_fired = false;
static uint8_t click_count = 0;

// ============================================================================
// INTERNAL HELPERS
// ============================================================================

static bool read_button_debounced(void)
{
    if (!button_port) return false;

    bool raw = !gpio_pin_get(button_port, BUTTON_PIN);  // Active low
    uint32_t now = platform_time_ms();

    if (raw != last_raw_state) {
        if (now - last_change_ms >= BUTTON_DEBOUNCE_MS) {
            last_raw_state = raw;
            last_change_ms = now;
        }
    }

    return last_raw_state;
}

static uint32_t elapsed_ms_since(uint32_t since)
{
    return platform_time_ms() - since;
}

static button_event_t fire_event(button_event_t event)
{
    if (event != BUTTON_EVENT_NONE) {
        const char* event_names[] = {
            "NONE", "CLICK", "DOUBLE_CLICK", "TRIPLE_CLICK", "HOLD", "RELEASE"
        };
        printf("[button] Event: %s\n", event_names[event]);
        if (event_callback) {
            event_callback(event);
        }
    }
    return event;
}

// ============================================================================
// PUBLIC API
// ============================================================================

void button_init(void)
{
#ifdef DISABLE_USER_BUTTON
    // No dedicated user button on this board, and its default pin collides
    // with a pad/gamepad GPIO (e.g. XIAO D1/P0.03). Leave button_port NULL so
    // button_task() never fires events — frees the pin for pad input.
    button_port = NULL;
    printf("[button] User button disabled (pin reserved for pad input)\n");
    return;
#else
    button_port = DEVICE_DT_GET(BUTTON_PORT_LABEL);
    if (!device_is_ready(button_port)) {
        printf("[button] GPIO port not ready\n");
        button_port = NULL;
        return;
    }

    gpio_pin_configure(button_port, BUTTON_PIN, GPIO_INPUT | GPIO_PULL_UP);

    state = STATE_IDLE;
    last_raw_state = false;
    last_change_ms = platform_time_ms();
    hold_event_fired = false;
    click_count = 0;

    printf("[button] Initialized on %s\n", BUTTON_PIN_STR);
#endif // DISABLE_USER_BUTTON
}

button_event_t button_task(void)
{
    bool pressed = read_button_debounced();
    button_event_t event = BUTTON_EVENT_NONE;

    switch (state) {
        case STATE_IDLE:
            if (pressed) {
                press_time_ms = platform_time_ms();
                hold_event_fired = false;
                click_count = 0;
                state = STATE_PRESSED;
            }
            break;

        case STATE_PRESSED:
            if (!pressed) {
                uint32_t held = elapsed_ms_since(press_time_ms);
                release_time_ms = platform_time_ms();

                if (held < BUTTON_CLICK_MAX_MS) {
                    click_count++;
                    if (click_count >= 3) {
                        event = fire_event(BUTTON_EVENT_TRIPLE_CLICK);
                        click_count = 0;
                        state = STATE_IDLE;
                    } else if (click_count == 2) {
                        state = STATE_WAIT_TRIPLE;
                    } else {
                        state = STATE_WAIT_DOUBLE;
                    }
                } else {
                    click_count = 0;
                    state = STATE_IDLE;
                    if (hold_event_fired) {
                        event = fire_event(BUTTON_EVENT_RELEASE);
                    }
                }
            } else {
                uint32_t held = elapsed_ms_since(press_time_ms);
                if (held >= BUTTON_HOLD_MS && !hold_event_fired) {
                    hold_event_fired = true;
                    click_count = 0;
                    state = STATE_HELD;
                    event = fire_event(BUTTON_EVENT_HOLD);
                }
            }
            break;

        case STATE_WAIT_DOUBLE:
            if (pressed) {
                press_time_ms = platform_time_ms();
                hold_event_fired = false;
                state = STATE_PRESSED;
            } else {
                if (elapsed_ms_since(release_time_ms) >= BUTTON_DOUBLE_CLICK_MS) {
                    event = fire_event(BUTTON_EVENT_CLICK);
                    click_count = 0;
                    state = STATE_IDLE;
                }
            }
            break;

        case STATE_WAIT_TRIPLE:
            if (pressed) {
                press_time_ms = platform_time_ms();
                hold_event_fired = false;
                state = STATE_PRESSED;
            } else {
                if (elapsed_ms_since(release_time_ms) >= BUTTON_DOUBLE_CLICK_MS) {
                    event = fire_event(BUTTON_EVENT_DOUBLE_CLICK);
                    click_count = 0;
                    state = STATE_IDLE;
                }
            }
            break;

        case STATE_HELD:
            if (!pressed) {
                event = fire_event(BUTTON_EVENT_RELEASE);
                click_count = 0;
                state = STATE_IDLE;
            }
            break;
    }

    return event;
}

void button_set_callback(button_callback_t callback)
{
    event_callback = callback;
}

bool button_is_pressed(void)
{
    return read_button_debounced();
}

uint32_t button_held_ms(void)
{
    if (state == STATE_PRESSED || state == STATE_HELD) {
        return elapsed_ms_since(press_time_ms);
    }
    return 0;
}
```

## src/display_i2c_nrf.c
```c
// display_i2c_nrf.c - I2C display transport for nRF52840 boards
//
// Implements display_i2c_init() using Zephyr I2C driver.
// XIAO nRF52840:   SSD1306 on i2c1 (XIAO Expansion Board)
// Feather nRF52840: SH1107 on i2c0 (FeatherWing OLED)
//
// Display flush runs in a low-priority background thread so I2C
// transfers (~35ms at 400kHz) don't block the main loop.

#include "core/services/display/display.h"
#include "core/services/display/display_transport.h"

#include <zephyr/kernel.h>
#include <zephyr/drivers/i2c.h>
#include <string.h>
#include <stdio.h>

static const struct device *i2c_dev;
static uint8_t i2c_addr = 0x3C;

static void i2c_write_cmd(uint8_t cmd)
{
    uint8_t buf[2] = { 0x00, cmd };  // Co=0, D/C#=0 (command)
    i2c_write(i2c_dev, buf, 2, i2c_addr);
}

static void i2c_write_data(const uint8_t* data, size_t len)
{
    // I2C data write: control byte 0x40 followed by data
    static uint8_t buf[129];  // 1 control + 128 data max
    buf[0] = 0x40;  // Co=0, D/C#=1 (data)
    size_t chunk = (len > 128) ? 128 : len;
    memcpy(buf + 1, data, chunk);
    i2c_write(i2c_dev, buf, chunk + 1, i2c_addr);
}

// ============================================================================
// BACKGROUND FLUSH THREAD
// ============================================================================

#define DISPLAY_THREAD_STACK_SIZE 1024
#define DISPLAY_THREAD_PRIORITY  K_PRIO_PREEMPT(14)  // Low priority
#define DISPLAY_FLUSH_INTERVAL_MS 50  // 20fps

K_THREAD_STACK_DEFINE(display_stack, DISPLAY_THREAD_STACK_SIZE);
static struct k_thread display_thread;

static void display_thread_fn(void *p1, void *p2, void *p3)
{
    (void)p1; (void)p2; (void)p3;
    while (1) {
        if (display_is_dirty()) {
            display_flush();
        }
        k_msleep(DISPLAY_FLUSH_INTERVAL_MS);
    }
}

static void display_start_thread(void)
{
    display_set_async(true);
    k_thread_create(&display_thread, display_stack,
                     DISPLAY_THREAD_STACK_SIZE,
                     display_thread_fn, NULL, NULL, NULL,
                     DISPLAY_THREAD_PRIORITY, 0, K_NO_WAIT);
    k_thread_name_set(&display_thread, "display");
    printf("[display] Background flush thread started\n");
}

// ============================================================================
// TRANSPORT INIT
// ============================================================================

void display_i2c_init(const display_i2c_config_t* config)
{
    // _OR_NULL so boards whose bus is disabled in devicetree (e.g. the April
    // Brother dongle's i2c1 in newer Zephyr) still compile — display support
    // then just reports not-ready at runtime.
#ifdef BOARD_FEATHER_NRF52840
    // Feather I2C bus: i2c0 (SDA=P0.12, SCL=P0.11)
    i2c_dev = DEVICE_DT_GET_OR_NULL(DT_NODELABEL(i2c0));
#else
    // XIAO I2C bus: i2c1 (SDA=P0.04, SCL=P0.05)
    i2c_dev = DEVICE_DT_GET_OR_NULL(DT_NODELABEL(i2c1));
#endif
    if (!i2c_dev || !device_is_ready(i2c_dev)) {
        printf("[display] I2C device not ready\n");
        return;
    }

    // Probe: check if a display is actually connected at this address
    uint8_t probe = 0x00;
    int ret = i2c_write(i2c_dev, &probe, 1, config->addr);
    if (ret) {
        printf("[display] No I2C device at 0x%02X\n", config->addr);
        i2c_dev = NULL;
        return;
    }

    i2c_addr = config->addr;

    // Register transport callbacks
    display_set_transport(i2c_write_cmd, i2c_write_data);
    display_set_col_offset(0);

    // Start background thread for async I2C flush
    display_start_thread();

    printf("[display] I2C transport initialized (addr=0x%02X)\n", i2c_addr);
}
```

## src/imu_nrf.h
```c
// imu_nrf.h - Onboard IMU reader (XIAO nRF52840 Sense LSM6DS3TR-C)
#ifndef IMU_NRF_H
#define IMU_NRF_H

// Initialize the onboard IMU. No-op if the board has no IMU node.
void imu_init(void);

// Poll the IMU (throttled internally to ~100 Hz) and push motion to the router.
void imu_task(void);

// Cut the IMU power rail (P1.08) before deep sleep so it draws nothing in
// System OFF. Called from platform_deep_sleep().
void imu_power_off(void);

#endif // IMU_NRF_H
```
